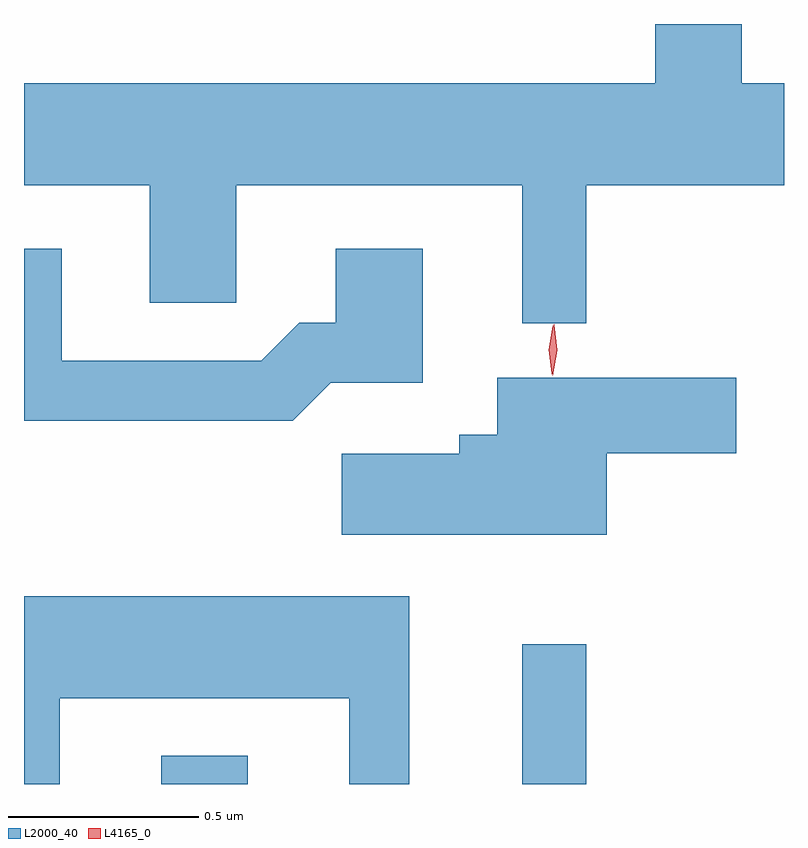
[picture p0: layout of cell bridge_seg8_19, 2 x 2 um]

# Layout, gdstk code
import gdstk
lib = gdstk.Library(unit=1e-6, precision=1e-09)
def R(c, l, rs):  # rectangles x0, y0, x1, y1
    for r in rs: c.add(gdstk.rectangle(r[:2], r[2:], *l))
def P(c, l, *ps):  # polygons
    for p in ps: c.add(gdstk.Polygon(p, *l))
L2000_40 = (2000, 40)
L4165_0 = (4165, 0)

bridge_seg8_19 = lib.new_cell('bridge_seg8_19')
R(bridge_seg8_19, L2000_40, [(1841.951,1874.8,1842.179,1874.874), (1842.901,1874.8,1843.069,1875.168)])
P(bridge_seg8_19, L2000_40, [(1841.59,1876.376),(1841.921,1876.376),(1841.921,1876.066),(1842.149,1876.066),(1842.149,1876.376),(1842.901,1876.376),(1842.901,1876.013),(1843.069,1876.013),(1843.069,1876.376),(1843.59,1876.376),(1843.59,1876.644),(1843.479,1876.644),(1843.479,1876.8),(1843.251,1876.8),(1843.251,1876.644),(1841.59,1876.644)],
  [(1842.397,1875.856),(1842.639,1875.856),(1842.639,1876.209),(1842.411,1876.209),(1842.411,1876.014),(1842.314,1876.014),(1842.214,1875.914),(1841.689,1875.914),(1841.689,1876.209),(1841.59,1876.209),(1841.59,1875.756),(1842.297,1875.756)],
  [(1843.124,1875.671),(1843.464,1875.671),(1843.464,1875.869),(1842.836,1875.869),(1842.836,1875.719),(1842.736,1875.719),(1842.736,1875.669),(1842.426,1875.669),(1842.426,1875.456),(1843.124,1875.456)],
  [(1841.684,1875.026),(1842.446,1875.026),(1842.446,1874.8),(1842.604,1874.8),(1842.604,1875.294),(1841.59,1875.294),(1841.59,1874.8),(1841.684,1874.8)])
P(bridge_seg8_19, L4165_0, [(1842.981,1875.874),(1842.981,1875.874),(1842.973,1875.942),(1842.984,1876.009),(1842.985,1876.01),(1842.985,1876.009),(1842.993,1875.941),(1842.982,1875.874)],
  [(1842.979,1875.878),(1842.979,1875.879),(1842.971,1875.943),(1842.982,1876.006),(1842.982,1876.006),(1842.982,1876.006),(1842.99,1875.942),(1842.98,1875.879)])

lib.write_gds('bridge_seg8_19.gds')
